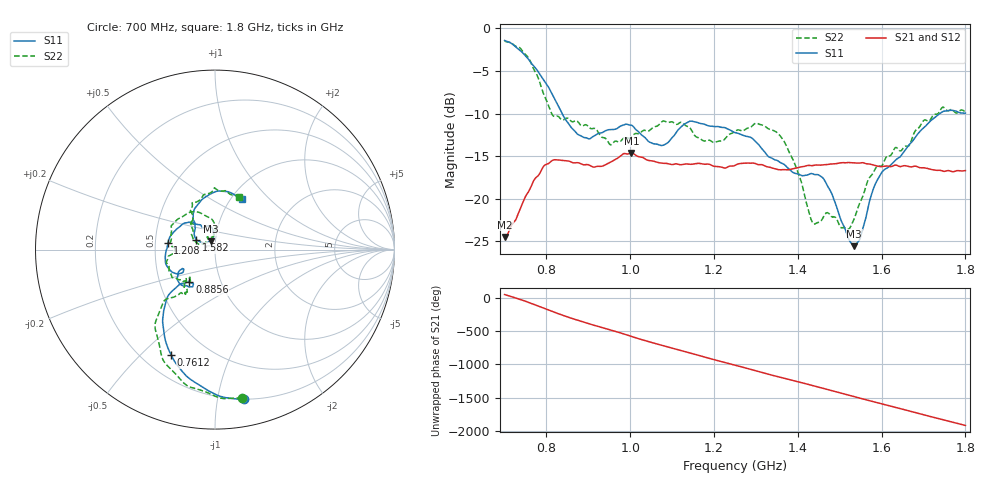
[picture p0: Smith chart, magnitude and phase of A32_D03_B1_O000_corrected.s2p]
! Created with skrf 1.9.0 (http://scikit-rf.org).
# Hz S RI R 50.0
!freq ReS11 ImS11 ReS21 ImS21 ReS12 ImS12 ReS22 ImS22
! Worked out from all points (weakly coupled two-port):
!   1601 points, 700 MHz to 1.8 GHz, reference 50 ohm
!   highest |S21| = -14.65 dB at 1.002 GHz (marker M1); lowest = -24.5 dB at 701.4 MHz (marker M2)
!   lowest |S11| = -25.6 dB at 1.535 GHz (marker M3), VSWR 1.11, Z = 47.5 + j4.45 ohm
!   |S11| at or under -10 dB: 837.3 MHz to 1.739 GHz (901.7 MHz wide, 70 % of centre)
!   |S22| runs from -23.6 to -1.5 dB; largest |S21 - S12| = 0.0035
!   S11 on the Smith chart (normalised r, x): 700 MHz: 0.20, -1.19; 761.2 MHz: 0.31, -0.62; 885.6 MHz: 0.71, -0.27; 1.208 GHz: 0.58, +0.05; 1.582 GHz: 0.81, +0.09; 1.8 GHz: 1.12, +0.70
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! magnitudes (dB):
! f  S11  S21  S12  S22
! 700 MHz  -1.4  -24.5  -24.3  -1.5
! 701.4 MHz  -1.4  -24.5  -24.1  -1.5
! 761.2 MHz  -3.9  -18.8  -18.7  -3.8
! 814.8 MHz  -7.8  -15.5  -15.6  -10.2
! 883.6 MHz  -12.7  -15.9  -15.8  -11.5
! 885.6 MHz  -12.7  -16.0  -15.9  -11.5
! 953 MHz  -11.9  -15.7  -15.7  -13.7
! 1.002 GHz  -11.4  -14.6  -14.8  -12.8
! 1.067 GHz  -13.7  -15.8  -15.7  -11.4
! 1.141 GHz  -10.9  -16.0  -15.9  -11.6
! 1.208 GHz  -11.5  -16.2  -16.3  -13.3
! 1.25 GHz  -12.2  -16.1  -16.0  -12.1
! 1.357 GHz  -15.7  -16.6  -16.6  -12.6
! 1.397 GHz  -17.1  -16.4  -16.4  -16.5
! 1.434 GHz  -17.1  -16.1  -16.1  -22.7
! 1.464 GHz  -17.9  -16.0  -16.0  -21.8
! 1.517 GHz  -24.2  -15.8  -15.8  -23.6
! 1.535 GHz  -25.6  -15.8  -15.8  -22.4
! 1.582 GHz  -18.6  -16.1  -16.1  -16.8
! 1.617 GHz  -16.3  -16.2  -16.2  -15.0
! 1.74 GHz  -10.0  -16.7  -16.7  -9.7
! 1.8 GHz  -10.0  -16.7  -16.7  -9.8
